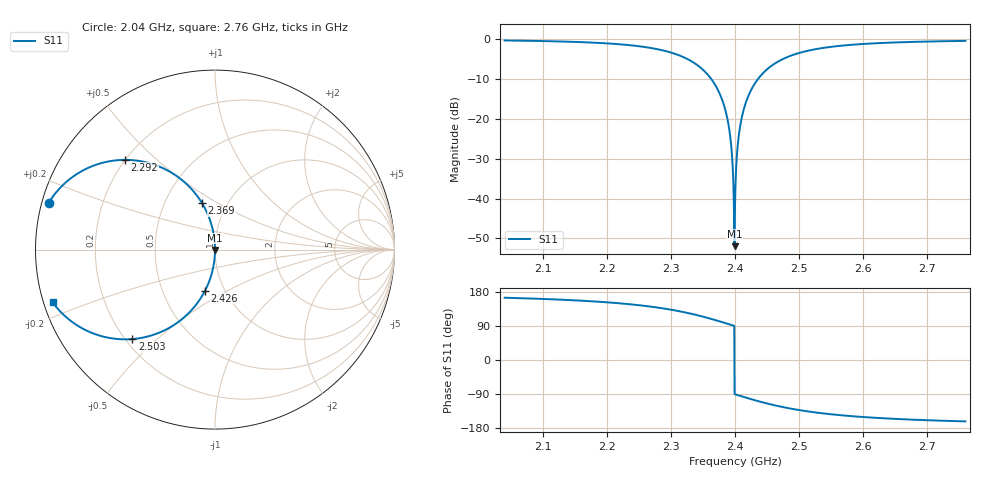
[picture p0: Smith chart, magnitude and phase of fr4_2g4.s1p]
! Created with skrf 2.2.0 (http://scikit-rf.org).
# Hz S RI R 50.0
!freq ReS11 ImS11
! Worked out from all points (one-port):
!   1201 points, 2.04 GHz to 2.76 GHz, reference 50 ohm
!   lowest |S11| = -51.9 dB at 2.399 GHz (marker M1), VSWR 1.01, Z = 50 - j0.253 ohm
!   |S11| at or under -10 dB: 2.363 GHz to 2.436 GHz (73.01 MHz wide, 3.04 % of centre)
!   S11 on the Smith chart (normalised r, x): 2.04 GHz: 0.02, +0.14; 2.292 GHz: 0.20, +0.40; 2.369 GHz: 0.76, +0.43; 2.426 GHz: 0.81, -0.39; 2.503 GHz: 0.23, -0.42; 2.76 GHz: 0.03, -0.16
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2.04e9  -0.9272 0.2599
2.13e9  -0.8722 0.3338
2.22e9  -0.7433 0.4368
2.292e9  -0.5005 0.5
2.31e9  -0.4076 0.4914
2.3442e9  -0.2048 0.4035
2.3688e9  -0.0721 0.2586
2.3802e9  -0.0292 0.1684
2.3886e9  -0.00919 0.0954
2.3934e9  -0.00273 0.0522
2.3946e9  -0.00171 0.0413
2.3958e9  -0.000921 0.0303
2.397e9  -0.000376 0.0194
2.3994e9  -6.4e-06 -0.00253
2.4e9  -6.41e-05 -0.00801
2.4018e9  -0.000597 -0.0244
2.4024e9  -0.000893 -0.0299
2.4036e9  -0.00167 -0.0408
2.4048e9  -0.00267 -0.0516
2.409e9  -0.00804 -0.0893
2.4162e9  -0.0236 -0.1517
2.4258e9  -0.0554 -0.2288
2.4516e9  -0.1835 -0.3871
2.49e9  -0.399 -0.4897
2.5026e9  -0.4613 -0.4985
2.58e9  -0.7175 -0.4502
2.67e9  -0.8465 -0.3605
2.76e9  -0.9046 -0.2937
